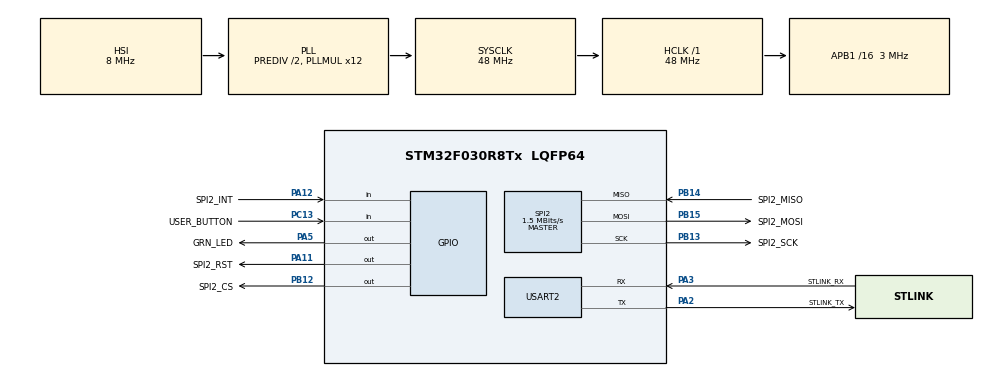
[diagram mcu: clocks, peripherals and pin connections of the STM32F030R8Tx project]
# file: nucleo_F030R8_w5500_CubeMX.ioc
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Mcu.Family=STM32F0
Mcu.Name=STM32F030R8Tx
Mcu.Package=LQFP64
NVIC.SPI2_IRQn=true\:0\:0\:false\:false\:true\:true\:true
NVIC.USART2_IRQn=true\:0\:0\:false\:false\:true\:true\:true
PA11.GPIO_Label=SPI2_RST
PA11.GPIO_Speed=GPIO_SPEED_FREQ_HIGH
PA11.PinState=GPIO_PIN_RESET
PA11.Signal=GPIO_Output
PA12.GPIO_Label=SPI2_INT
PA12.GPIO_PuPd=GPIO_NOPULL
PA12.Signal=GPIO_Input
PA13.GPIO_Label=TMS
PA13.Signal=SYS_SWDIO
PA14.GPIO_Label=TCK
PA14.Signal=SYS_SWCLK
PA2.GPIO_Label=STLINK_TX
PA2.GPIO_Mode=GPIO_MODE_AF_PP
PA2.GPIO_PuPd=GPIO_NOPULL
PA2.GPIO_Speed=GPIO_SPEED_FREQ_LOW
PA2.Mode=Asynchronous
PA2.Signal=USART2_TX
PA3.GPIO_Label=STLINK_RX
PA3.GPIO_Mode=GPIO_MODE_AF_PP
PA3.GPIO_PuPd=GPIO_NOPULL
PA3.GPIO_Speed=GPIO_SPEED_FREQ_LOW
PA3.Mode=Asynchronous
PA3.Signal=USART2_RX
PA5.GPIO_Label=GRN_LED
PA5.GPIO_Mode=GPIO_MODE_OUTPUT_PP
PA5.GPIO_PuPd=GPIO_NOPULL
PA5.GPIO_Speed=GPIO_SPEED_FREQ_LOW
PA5.Signal=GPIO_Output
PB12.GPIO_Label=SPI2_CS
PB12.PinState=GPIO_PIN_SET
PB12.Signal=GPIO_Output
PB13.GPIO_Label=SPI2_SCK
PB13.Mode=Full_Duplex_Master
PB13.Signal=SPI2_SCK
PB14.GPIO_Label=SPI2_MISO
PB14.Mode=Full_Duplex_Master
PB14.Signal=SPI2_MISO
PB15.GPIO_Label=SPI2_MOSI
PB15.Mode=Full_Duplex_Master
PB15.Signal=SPI2_MOSI
PC13.GPIO_Label=USER_BUTTON
PC13.Signal=GPIO_Input
PC14-OSC32_IN.Mode=LSE-External-Oscillator
PC14-OSC32_IN.Signal=RCC_OSC32_IN
PC15-OSC32_OUT.Mode=LSE-External-Oscillator
PC15-OSC32_OUT.Signal=RCC_OSC32_OUT
PF0-OSC_IN.Mode=HSE-External-Clock-Source
PF0-OSC_IN.Signal=RCC_OSC_IN
PF1-OSC_OUT.Signal=RCC_OSC_OUT
ProjectManager.HeapSize=0x200
ProjectManager.StackSize=0x400
ProjectManager.TargetToolchain=SW4STM32
RCC.AHBFreq_Value=48000000
RCC.APB1CLKDivider=RCC_HCLK_DIV16
RCC.APB1Freq_Value=3000000
RCC.APB1TimFreq_Value=6000000
RCC.HCLKFreq_Value=48000000
RCC.PLLDivider=RCC_PREDIV_DIV2
RCC.PLLMUL=RCC_PLL_MUL12
RCC.SYSCLKFreq_VALUE=48000000
RCC.SYSCLKSource=RCC_SYSCLKSOURCE_PLLCLK
SPI2.BaudRatePrescaler=SPI_BAUDRATEPRESCALER_2
SPI2.CLKPhase=SPI_PHASE_1EDGE
SPI2.CLKPolarity=SPI_POLARITY_LOW
SPI2.CalculateBaudRate=1.5 MBits/s
SPI2.DataSize=SPI_DATASIZE_8BIT
SPI2.Direction=SPI_DIRECTION_2LINES
SPI2.Mode=SPI_MODE_MASTER
SPI2.NSSPMode=SPI_NSS_PULSE_DISABLE
SPI2.VirtualType=VM_MASTER
USART2.VirtualMode-Asynchronous=VM_ASYNC
VP_RTC_VS_RTC_Activate.Mode=RTC_Enabled
board=NUCLEO-F030R8

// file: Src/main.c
/* USER CODE BEGIN Header */
/**
  ******************************************************************************
  * @file           : main.c
  * @brief          : Main program body
  ******************************************************************************
  * @attention
  *
  * <h2><center>&copy; Copyright (c) 2020 STMicroelectronics.
  * All rights reserved.</center></h2>
  *
  * This software component is licensed by ST under BSD 3-Clause license,
  * the "License"; You may not use this file except in compliance with the
  * License. You may obtain a copy of the License at:
  *                        opensource.org/licenses/BSD-3-Clause
  *
  ******************************************************************************
  */
/* USER CODE END Header */

/*
 *  Include Files
 */
#include "main.h"
#include "w5500.h"
#include "socket.h"
#include "http_client.h"
#include <stdio.h>

/**
 *  Private variables
 */
RTC_HandleTypeDef hrtc;

SPI_HandleTypeDef hspi2;

UART_HandleTypeDef huart2;

/* USER CODE BEGIN PV */

/**
 * Private variables
 */
static uint16_t toggle = 0;

/* USER CODE END PV */

/**
 *  Private function prototypes
 */
void SystemClock_Config(void);
static void MX_GPIO_Init(void);
static void MX_USART2_UART_Init(void);
static void MX_RTC_Init(void);
static void MX_SPI2_Init(void);

/* USER CODE BEGIN PFP */
/* Private function prototypes -----------------------------------------------*/

/* USER CODE END PFP */

int main(void)
{

  /* MCU Configuration--------------------------------------------------------*/

  /* Reset of all peripherals, Initializes the Flash interface and the Systick. */
  HAL_Init();

  /* Configure the system clock */
  SystemClock_Config();

  /* Initialize all configured peripherals */
  MX_GPIO_Init();
  MX_USART2_UART_Init();
  MX_RTC_Init();
  MX_SPI2_Init();

  /* USER CODE BEGIN 2 */

  printf("\r\nPower On\r\n");
  printf("Compiled: " __DATE__ " " __TIME__ "\r\n");

  printf("SPI2->CR1: %04X\r\n", (uint16_t) SPI2->CR1);
  printf("SPI2->CR2: %04X\r\n", (uint16_t) SPI2->CR2);

  W5500_Init();

  /* USER CODE END 2 */

  /* Infinite loop */
  /* USER CODE BEGIN WHILE */
  printf("Press Blue User Button.\r\n");

  while (1)
  {
      if (HAL_GPIO_ReadPin(USER_BUTTON_GPIO_Port,USER_BUTTON_Pin) == GPIO_PIN_RESET)
      {
          toggle = 1 - toggle;
          http_client_request(toggle);
      }
      Delay_ms(100);

    /* USER CODE END WHILE */

  }
}

void SystemClock_Config(void)
{
  RCC_OscInitTypeDef RCC_OscInitStruct = {0};
  RCC_ClkInitTypeDef RCC_ClkInitStruct = {0};
  RCC_PeriphCLKInitTypeDef PeriphClkInit = {0};

  /** Initializes the CPU, AHB and APB busses clocks
  */
  RCC_OscInitStruct.OscillatorType = RCC_OSCILLATORTYPE_HSI|RCC_OSCILLATORTYPE_LSI;
  RCC_OscInitStruct.HSIState = RCC_HSI_ON;
  RCC_OscInitStruct.HSICalibrationValue = RCC_HSICALIBRATION_DEFAULT;
  RCC_OscInitStruct.LSIState = RCC_LSI_ON;
  RCC_OscInitStruct.PLL.PLLState = RCC_PLL_ON;
  RCC_OscInitStruct.PLL.PLLSource = RCC_PLLSOURCE_HSI;
  RCC_OscInitStruct.PLL.PLLMUL = RCC_PLL_MUL12;
  RCC_OscInitStruct.PLL.PREDIV = RCC_PREDIV_DIV2;
  if (HAL_RCC_OscConfig(&RCC_OscInitStruct) != HAL_OK)
  {
    Error_Handler();
  }
  /** Initializes the CPU, AHB and APB busses clocks
  */
  RCC_ClkInitStruct.ClockType = RCC_CLOCKTYPE_HCLK|RCC_CLOCKTYPE_SYSCLK
                              |RCC_CLOCKTYPE_PCLK1;
  RCC_ClkInitStruct.SYSCLKSource = RCC_SYSCLKSOURCE_PLLCLK;
  RCC_ClkInitStruct.AHBCLKDivider = RCC_SYSCLK_DIV1;
  RCC_ClkInitStruct.APB1CLKDivider = RCC_HCLK_DIV16;

  if (HAL_RCC_ClockConfig(&RCC_ClkInitStruct, FLASH_LATENCY_1) != HAL_OK)
  {
    Error_Handler();
  }
  PeriphClkInit.PeriphClockSelection = RCC_PERIPHCLK_RTC;
  PeriphClkInit.RTCClockSelection = RCC_RTCCLKSOURCE_LSI;
  if (HAL_RCCEx_PeriphCLKConfig(&PeriphClkInit) != HAL_OK)
  {
    Error_Handler();
  }
}

static void MX_RTC_Init(void)
{

  /** Initialize RTC Only
  */
  hrtc.Instance = RTC;
  hrtc.Init.HourFormat = RTC_HOURFORMAT_24;
  hrtc.Init.AsynchPrediv = 127;
  hrtc.Init.SynchPrediv = 255;
  hrtc.Init.OutPut = RTC_OUTPUT_DISABLE;
  hrtc.Init.OutPutPolarity = RTC_OUTPUT_POLARITY_HIGH;
  hrtc.Init.OutPutType = RTC_OUTPUT_TYPE_OPENDRAIN;
  if (HAL_RTC_Init(&hrtc) != HAL_OK)
  {
    Error_Handler();
  }

}

static void MX_SPI2_Init(void)
{

  /* SPI2 parameter configuration*/
  hspi2.Instance = SPI2;
  hspi2.Init.Mode = SPI_MODE_MASTER;
  hspi2.Init.Direction = SPI_DIRECTION_2LINES;
  hspi2.Init.DataSize = SPI_DATASIZE_8BIT;
  hspi2.Init.CLKPolarity = SPI_POLARITY_LOW;
  hspi2.Init.CLKPhase = SPI_PHASE_1EDGE;
  hspi2.Init.NSS = SPI_NSS_SOFT;
  hspi2.Init.BaudRatePrescaler = SPI_BAUDRATEPRESCALER_2;
  hspi2.Init.FirstBit = SPI_FIRSTBIT_MSB;
  hspi2.Init.TIMode = SPI_TIMODE_DISABLE;
  hspi2.Init.CRCCalculation = SPI_CRCCALCULATION_DISABLE;
  hspi2.Init.CRCPolynomial = 7;
  hspi2.Init.CRCLength = SPI_CRC_LENGTH_DATASIZE;
  hspi2.Init.NSSPMode = SPI_NSS_PULSE_DISABLE;
  if (HAL_SPI_Init(&hspi2) != HAL_OK)
  {
    Error_Handler();
  }

}

static void MX_USART2_UART_Init(void)
{

  huart2.Instance = USART2;
  huart2.Init.BaudRate = 38400;
  huart2.Init.WordLength = UART_WORDLENGTH_8B;
  huart2.Init.StopBits = UART_STOPBITS_1;
  huart2.Init.Parity = UART_PARITY_NONE;
  huart2.Init.Mode = UART_MODE_TX_RX;
  huart2.Init.HwFlowCtl = UART_HWCONTROL_NONE;
  huart2.Init.OverSampling = UART_OVERSAMPLING_16;
  huart2.Init.OneBitSampling = UART_ONE_BIT_SAMPLE_DISABLE;
  huart2.AdvancedInit.AdvFeatureInit = UART_ADVFEATURE_NO_INIT;
  if (HAL_UART_Init(&huart2) != HAL_OK)
  {
    Error_Handler();
  }

}

static void MX_GPIO_Init(void)
{
  GPIO_InitTypeDef GPIO_InitStruct = {0};

  /* GPIO Ports Clock Enable */
  __HAL_RCC_GPIOC_CLK_ENABLE();
  __HAL_RCC_GPIOF_CLK_ENABLE();
  __HAL_RCC_GPIOA_CLK_ENABLE();
  __HAL_RCC_GPIOB_CLK_ENABLE();

  /*Configure GPIO pin Output Level */
  HAL_GPIO_WritePin(GPIOA, GRN_LED_Pin|SPI2_RST_Pin, GPIO_PIN_RESET);

  /*Configure GPIO pin Output Level */
  HAL_GPIO_WritePin(SPI2_CS_GPIO_Port, SPI2_CS_Pin, GPIO_PIN_SET);

  /*Configure GPIO pin : USER_BUTTON_Pin */
  GPIO_InitStruct.Pin = USER_BUTTON_Pin;
  GPIO_InitStruct.Mode = GPIO_MODE_INPUT;
  GPIO_InitStruct.Pull = GPIO_NOPULL;
  HAL_GPIO_Init(USER_BUTTON_GPIO_Port, &GPIO_InitStruct);

  /*Configure GPIO pin : GRN_LED_Pin */
  GPIO_InitStruct.Pin = GRN_LED_Pin;
  GPIO_InitStruct.Mode = GPIO_MODE_OUTPUT_PP;
  GPIO_InitStruct.Pull = GPIO_NOPULL;
  GPIO_InitStruct.Speed = GPIO_SPEED_FREQ_LOW;
  HAL_GPIO_Init(GRN_LED_GPIO_Port, &GPIO_InitStruct);

  /*Configure GPIO pin : SPI2_CS_Pin */
  GPIO_InitStruct.Pin = SPI2_CS_Pin;
  GPIO_InitStruct.Mode = GPIO_MODE_OUTPUT_PP;
  GPIO_InitStruct.Pull = GPIO_NOPULL;
  GPIO_InitStruct.Speed = GPIO_SPEED_FREQ_LOW;
  HAL_GPIO_Init(SPI2_CS_GPIO_Port, &GPIO_InitStruct);

  /*Configure GPIO pin : SPI2_RST_Pin */
  GPIO_InitStruct.Pin = SPI2_RST_Pin;
  GPIO_InitStruct.Mode = GPIO_MODE_OUTPUT_PP;
  GPIO_InitStruct.Pull = GPIO_NOPULL;
  GPIO_InitStruct.Speed = GPIO_SPEED_FREQ_HIGH;
  HAL_GPIO_Init(SPI2_RST_GPIO_Port, &GPIO_InitStruct);

  /*Configure GPIO pin : SPI2_INT_Pin */
  GPIO_InitStruct.Pin = SPI2_INT_Pin;
  GPIO_InitStruct.Mode = GPIO_MODE_INPUT;
  GPIO_InitStruct.Pull = GPIO_NOPULL;
  HAL_GPIO_Init(SPI2_INT_GPIO_Port, &GPIO_InitStruct);

}

/* USER CODE BEGIN 4 */

/**
 * Delay using a spin wait for the specified number of milliseconds.
 * Timing is based off the SysTick timer.
 */
void Delay_ms(uint32_t delay_ms)
{
    /*  Handles SysTick roll-over: https://stackoverflow.com/questions/61443/  */
    uint32_t start_time_ms = HAL_GetTick();
    while ( (HAL_GetTick() - start_time_ms) < delay_ms)
    {
        // spin wait
    }

    return;
}

/* USER CODE END 4 */

void Error_Handler(void)
{
  while(1)
  {
  }
}

/************************ (C) COPYRIGHT STMicroelectronics *****END OF FILE****/
